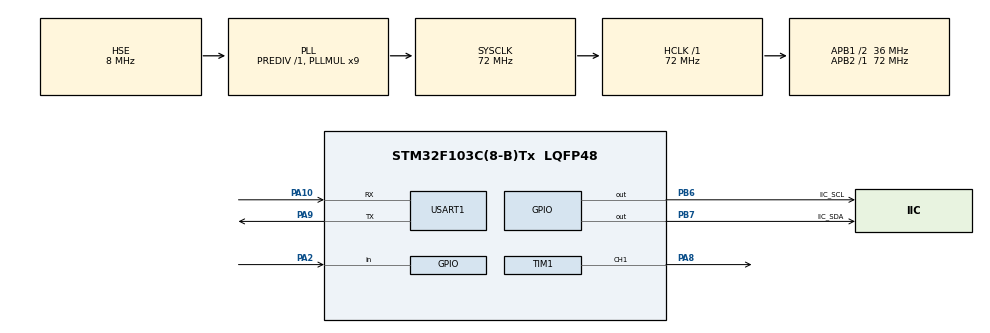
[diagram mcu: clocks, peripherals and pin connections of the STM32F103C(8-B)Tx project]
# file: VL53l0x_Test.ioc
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Mcu.Family=STM32F1
Mcu.Name=STM32F103C(8-B)Tx
Mcu.Package=LQFP48
NVIC.PriorityGroup=NVIC_PRIORITYGROUP_4
PA10.Mode=Asynchronous
PA10.Signal=USART1_RX
PA13.Mode=Serial_Wire
PA13.Signal=SYS_JTMS-SWDIO
PA14.Mode=Serial_Wire
PA14.Signal=SYS_JTCK-SWCLK
PA2.GPIO_PuPd=GPIO_PULLDOWN
PA2.Signal=GPIO_Input
PA8.Signal=S_TIM1_CH1
PA9.Mode=Asynchronous
PA9.Signal=USART1_TX
PB6.GPIO_Label=IIC_SCL
PB6.GPIO_ModeDefaultOutputPP=GPIO_MODE_OUTPUT_OD
PB6.GPIO_PuPd=GPIO_NOPULL
PB6.GPIO_Speed=GPIO_SPEED_FREQ_HIGH
PB6.PinState=GPIO_PIN_SET
PB6.Signal=GPIO_Output
PB7.GPIO_Label=IIC_SDA
PB7.GPIO_ModeDefaultOutputPP=GPIO_MODE_OUTPUT_OD
PB7.GPIO_PuPd=GPIO_NOPULL
PB7.GPIO_Speed=GPIO_SPEED_FREQ_HIGH
PB7.PinState=GPIO_PIN_SET
PB7.Signal=GPIO_Output
PD0-OSC_IN.Mode=HSE-External-Oscillator
PD0-OSC_IN.Signal=RCC_OSC_IN
PD1-OSC_OUT.Mode=HSE-External-Oscillator
PD1-OSC_OUT.Signal=RCC_OSC_OUT
ProjectManager.HeapSize=0x200
ProjectManager.StackSize=0x400
ProjectManager.TargetToolchain=MDK-ARM V5.32
RCC.AHBFreq_Value=72000000
RCC.APB1CLKDivider=RCC_HCLK_DIV2
RCC.APB1Freq_Value=36000000
RCC.APB1TimFreq_Value=72000000
RCC.APB2Freq_Value=72000000
RCC.APB2TimFreq_Value=72000000
RCC.HCLKFreq_Value=72000000
RCC.PLLMUL=RCC_PLL_MUL9
RCC.PLLSourceVirtual=RCC_PLLSOURCE_HSE
RCC.SYSCLKFreq_VALUE=72000000
RCC.SYSCLKSource=RCC_SYSCLKSOURCE_PLLCLK
RCC.USBFreq_Value=72000000
SH.S_TIM1_CH1.0=TIM1_CH1,PWM Generation1 CH1
TIM1.AutoReloadPreload=TIM_AUTORELOAD_PRELOAD_ENABLE
TIM1.Channel-PWM\ Generation1\ CH1=TIM_CHANNEL_1
TIM1.Period=18000-1
TIM1.Prescaler=80-1
USART1.VirtualMode=VM_ASYNC
board=custom

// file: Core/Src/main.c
/* USER CODE BEGIN Header */
/**
  ******************************************************************************
  * @file           : main.c
  * @brief          : Main program body
  ******************************************************************************
  * @attention
  *
  * Copyright (c) 2022 STMicroelectronics.
  * All rights reserved.
  *
  * This software is licensed under terms that can be found in the LICENSE file
  * in the root directory of this software component.
  * If no LICENSE file comes with this software, it is provided AS-IS.
  *
  ******************************************************************************
  */
/* USER CODE END Header */
#include "main.h"
#include "tim.h"
#include "usart.h"
#include "gpio.h"

/* USER CODE BEGIN Includes */
#include "delay.h"
/* USER CODE END Includes */

void SystemClock_Config(void);

/* USER CODE BEGIN 0 */
extern void VL53L0X_Init(void);
extern uint16_t VL53L0X_GetValue(void);
/* USER CODE END 0 */

int main(void)
{

  /* MCU Configuration--------------------------------------------------------*/

  /* Reset of all peripherals, Initializes the Flash interface and the Systick. */
  HAL_Init();

  /* Configure the system clock */
  SystemClock_Config();

  /* USER CODE BEGIN SysInit */
		delay_init(72);
  /* USER CODE END SysInit */

  /* Initialize all configured peripherals */
  MX_GPIO_Init();
  MX_USART1_UART_Init();
  MX_TIM1_Init();
  /* USER CODE BEGIN 2 */
	HAL_TIM_PWM_Start(&htim1,TIM_CHANNEL_1);
	int thepwm=0,c=0;
	float a=0.0;

    printf("Compile Time: %s  %s\n", __DATE__, __TIME__);
    printf("Sensor VL53L0X TEST\r\n");
    VL53L0X_Init();
		int distance[] = {0};
		double angle[] = {0};
		int dis = 0, agl = 0;
  /* USER CODE END 2 */

  /* Infinite loop */
  /* USER CODE BEGIN WHILE */
    while (1)
    {
			//printf("distance = %d mm\r\n", VL53L0X_GetValue() - 10);

				__HAL_TIM_SET_COMPARE(&htim1,TIM_CHANNEL_1,600);
		while(HAL_GPIO_ReadPin(GPIOA,GPIO_PIN_2)==GPIO_PIN_SET){
			while(c==0){
			 //HAL_Delay(3);
			 __HAL_TIM_SET_COMPARE(&htim1,TIM_CHANNEL_1,600+thepwm);
			 a=thepwm/10.0;
				distance[dis] = VL53L0X_GetValue() - 10;	dis++;
				angle[agl] = a;
				thepwm+=10;
				//printf("a = %.1f, distance = %d mm\r\n",a,VL53L0X_GetValue() - 10);
			 if(thepwm==1800)c=1;
			}
			thepwm -= 5;
			while(c==1){

			 HAL_Delay(3);
			 __HAL_TIM_SET_COMPARE(&htim1,TIM_CHANNEL_1,600+thepwm);
			 a=thepwm/10.0;
				thepwm-=10;
				//printf("a = %.1f, distance = %d mm\r\n",a,VL53L0X_GetValue() - 10);
			 if(thepwm==5)c=0;
				}
				for(int i=0;i<180;i++) printf("i = %d, distance = %d\r\n", i, distance[i]);
			}

    /* USER CODE END WHILE */

    }
}

void SystemClock_Config(void)
{
  RCC_OscInitTypeDef RCC_OscInitStruct = {0};
  RCC_ClkInitTypeDef RCC_ClkInitStruct = {0};

  /** Initializes the RCC Oscillators according to the specified parameters
  * in the RCC_OscInitTypeDef structure.
  */
  RCC_OscInitStruct.OscillatorType = RCC_OSCILLATORTYPE_HSE;
  RCC_OscInitStruct.HSEState = RCC_HSE_ON;
  RCC_OscInitStruct.HSEPredivValue = RCC_HSE_PREDIV_DIV1;
  RCC_OscInitStruct.HSIState = RCC_HSI_ON;
  RCC_OscInitStruct.PLL.PLLState = RCC_PLL_ON;
  RCC_OscInitStruct.PLL.PLLSource = RCC_PLLSOURCE_HSE;
  RCC_OscInitStruct.PLL.PLLMUL = RCC_PLL_MUL9;
  if (HAL_RCC_OscConfig(&RCC_OscInitStruct) != HAL_OK)
  {
    Error_Handler();
  }

  /** Initializes the CPU, AHB and APB buses clocks
  */
  RCC_ClkInitStruct.ClockType = RCC_CLOCKTYPE_HCLK|RCC_CLOCKTYPE_SYSCLK
                              |RCC_CLOCKTYPE_PCLK1|RCC_CLOCKTYPE_PCLK2;
  RCC_ClkInitStruct.SYSCLKSource = RCC_SYSCLKSOURCE_PLLCLK;
  RCC_ClkInitStruct.AHBCLKDivider = RCC_SYSCLK_DIV1;
  RCC_ClkInitStruct.APB1CLKDivider = RCC_HCLK_DIV2;
  RCC_ClkInitStruct.APB2CLKDivider = RCC_HCLK_DIV1;

  if (HAL_RCC_ClockConfig(&RCC_ClkInitStruct, FLASH_LATENCY_2) != HAL_OK)
  {
    Error_Handler();
  }
}

void Error_Handler(void)
{
    __disable_irq();
    while (1)
    {
    }
}
